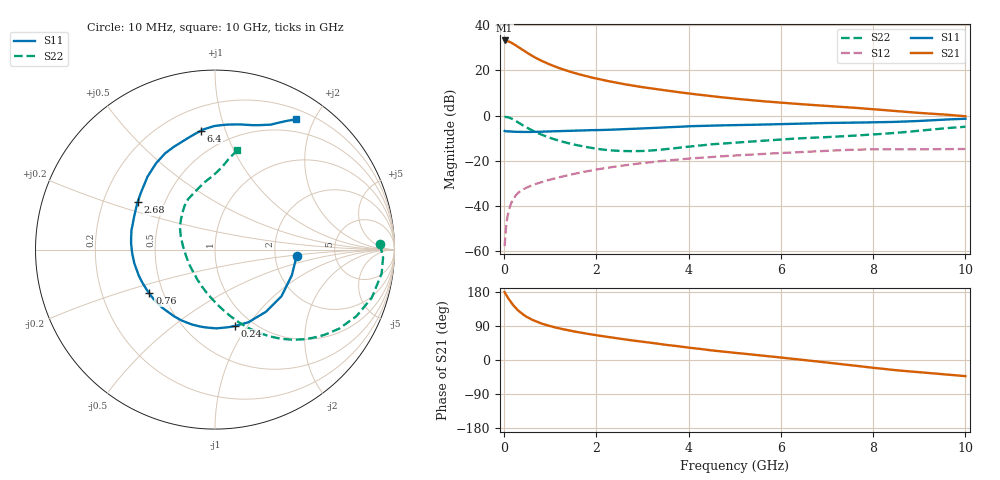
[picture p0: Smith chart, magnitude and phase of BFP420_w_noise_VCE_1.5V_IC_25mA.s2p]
! Infineon Technologies  Discrete & RF Semiconductors
! BFP420
! VCE =  1.5 V,  IC =  25 mA
! Common Emitter S-Parameters:  Jan 2016
# GHz  S  MA  R  50
!  f  S11  S21  S12  S22
! GHz  MAG  ANG  MAG  ANG  MAG  ANG  MAG  ANG
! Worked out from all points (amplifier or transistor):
!   233 points, 10 MHz to 10 GHz, reference 50 ohm
!   highest |S21| = 33.2 dB at 10 MHz (marker M1)
!   |S21| within 3 dB of that: start of sweep to 312.8 MHz
!   unconditionally stable (mu >= 1): 1.604 GHz to end of sweep
!   at 200 MHz: K = 0.28, MSG = 34.3 dB, |S12| = -36.8 dB
!   at 1.74 GHz: K = 1.03, MAG = 20.2 dB, |S12| = -24.8 dB
!   at 10 GHz: K = 1.06, MAG = 5.7 dB, |S12| = -14.8 dB
!   lowest NFmin = 1.38 dB at 900 MHz
!   S11 on the Smith chart (normalised r, x): 10 MHz: 2.67, -0.24; 240 MHz: 0.83, -0.88; 760 MHz: 0.42, -0.25; 2.68 GHz: 0.35, +0.25; 6.4 GHz: 0.35, +0.83; 10 GHz: 0.33, +1.75
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0.01  0.4595 -4.5  45.93 179.4  0.0013 102.7  0.9201 1.9
0.02  0.453 -7.2  45.12 176.3  0.0017 91.3  0.9375 -2.7
0.06  0.4486 -21.7  44.49 168.5  0.0049 82.6  0.9314 -9.9
0.1  0.4525 -35.1  43.6 160.9  0.008 78.4  0.9138 -17.1
0.145  0.4467 -49.1  41.51 152.9  0.0111 73.8  0.8746 -24.4
0.2  0.4455 -65.2  38.71 144.2  0.0145 68.9  0.8198 -32.5
0.24  0.4398 -75.3  36.34 138.6  0.0166 66.0  0.7762 -37.5
0.3  0.439 -89.1  33.19 131.0  0.0194 62.5  0.7125 -44.4
0.34  0.4367 -96.9  31.14 126.8  0.0209 60.6  0.6722 -48.3
0.45  0.4365 -114.8  26.23 116.7  0.0246 57.3  0.5753 -57.4
0.6  0.4377 -132.7  21.15 106.5  0.0287 55.0  0.4751 -66.9
0.76  0.4397 -146.3  17.32 98.7  0.0326 54.2  0.3998 -74.6
0.9  0.4447 -155.6  14.8 92.8  0.0361 53.9  0.35 -80.9
1.12  0.4519 -166.9  11.99 85.6  0.0415 53.8  0.2935 -89.8
1.68  0.471 173.2  7.926 71.8  0.0559 52.1  0.2117 -112.0
2.68  0.5059 148.4  4.819 53.3  0.0814 45.3  0.1639 -155.0
3.4  0.5463 134.5  3.718 41.9  0.0986 38.9  0.177 175.7
5.1  0.6187 110.8  2.321 17.8  0.1332 23.1  0.2563 137.4
6.4  0.6676 96.6  1.802 1.3  0.1562 11.2  0.3146 119.1
6.8  0.6812 92.5  1.689 -4.0  0.1635 7.3  0.3284 113.5
8.4  0.7246 73.1  1.284 -25.7  0.1802 -10.7  0.4086 92.2
10  0.8534 58.2  0.969 -42.6  0.1828 -22.9  0.5681 77.3
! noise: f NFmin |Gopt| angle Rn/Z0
0.9  1.38  0.22  -154  0.13
1.8  1.65  0.29  -143  0.13
2.4  1.81  0.26  -138  0.17
3  1.83  0.34  -129  0.18
4  1.97  0.45  -112  0.27
5  2.4  0.49  -95  0.44
6  2.85  0.54  -84  0.65
